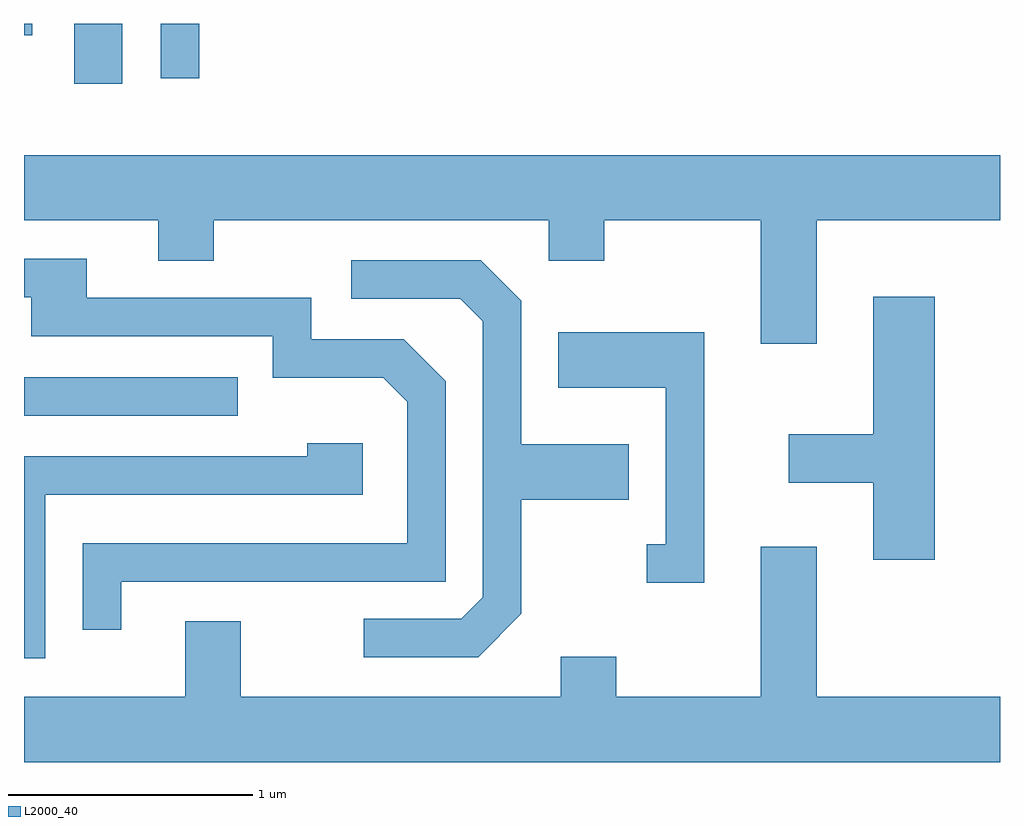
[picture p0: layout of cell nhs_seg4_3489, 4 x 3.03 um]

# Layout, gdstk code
import gdstk
lib = gdstk.Library(unit=1e-6, precision=1e-09)
def R(c, l, rs):  # rectangles x0, y0, x1, y1
    for r in rs: c.add(gdstk.rectangle(r[:2], r[2:], *l))
def P(c, l, *ps):  # polygons
    for p in ps: c.add(gdstk.Polygon(p, *l))
L2000_40 = (2000, 40)

nhs_seg4_3489 = lib.new_cell('nhs_seg4_3489')
R(nhs_seg4_3489, L2000_40, [(287.611,1298.376,288.488,1298.534), (287.816,1299.736,288.014,1299.982), (288.171,1299.758,288.329,1299.982), (287.611,1299.936,287.644,1299.982)])
P(nhs_seg4_3489, L2000_40, [(290.859,1299.176),(291.611,1299.176),(291.611,1299.444),(287.611,1299.444),(287.611,1299.176),(288.161,1299.176),(288.161,1299.011),(288.389,1299.011),(288.389,1299.176),(289.761,1299.176),(289.761,1299.011),(289.989,1299.011),(289.989,1299.176),(290.631,1299.176),(290.631,1298.671),(290.859,1298.671)],
  [(288.009,1297.696),(289.339,1297.696),(289.339,1298.517),(289.167,1298.689),(288.789,1298.689),(288.789,1298.859),(287.869,1298.859),(287.869,1299.019),(287.611,1299.019),(287.611,1298.861),(287.641,1298.861),(287.641,1298.701),(288.631,1298.701),(288.631,1298.531),(289.084,1298.531),(289.181,1298.434),(289.181,1297.854),(287.851,1297.854),(287.851,1297.498),(288.009,1297.498)],
  [(289.649,1297.564),(289.649,1298.031),(290.089,1298.031),(290.089,1298.259),(289.649,1298.259),(289.649,1298.847),(289.482,1299.014),(288.953,1299.014),(288.953,1298.856),(289.399,1298.856),(289.491,1298.764),(289.491,1297.632),(289.404,1297.544),(289.003,1297.544),(289.003,1297.386),(289.472,1297.386)],
  [(291.344,1298.864),(291.091,1298.864),(291.091,1298.299),(290.746,1298.299),(290.746,1298.101),(291.091,1298.101),(291.091,1297.786),(291.344,1297.786)],
  [(290.399,1298.719),(289.801,1298.719),(289.801,1298.491),(290.241,1298.491),(290.241,1297.849),(290.163,1297.849),(290.163,1297.691),(290.399,1297.691)],
  [(287.699,1298.051),(288.999,1298.051),(288.999,1298.264),(288.771,1298.264),(288.771,1298.209),(287.611,1298.209),(287.611,1297.381),(287.699,1297.381)],
  [(291.611,1297.224),(290.859,1297.224),(290.859,1297.839),(290.631,1297.839),(290.631,1297.224),(290.039,1297.224),(290.039,1297.389),(289.811,1297.389),(289.811,1297.224),(288.499,1297.224),(288.499,1297.534),(288.271,1297.534),(288.271,1297.224),(287.611,1297.224),(287.611,1296.956),(291.611,1296.956)])

lib.write_gds('nhs_seg4_3489.gds')
